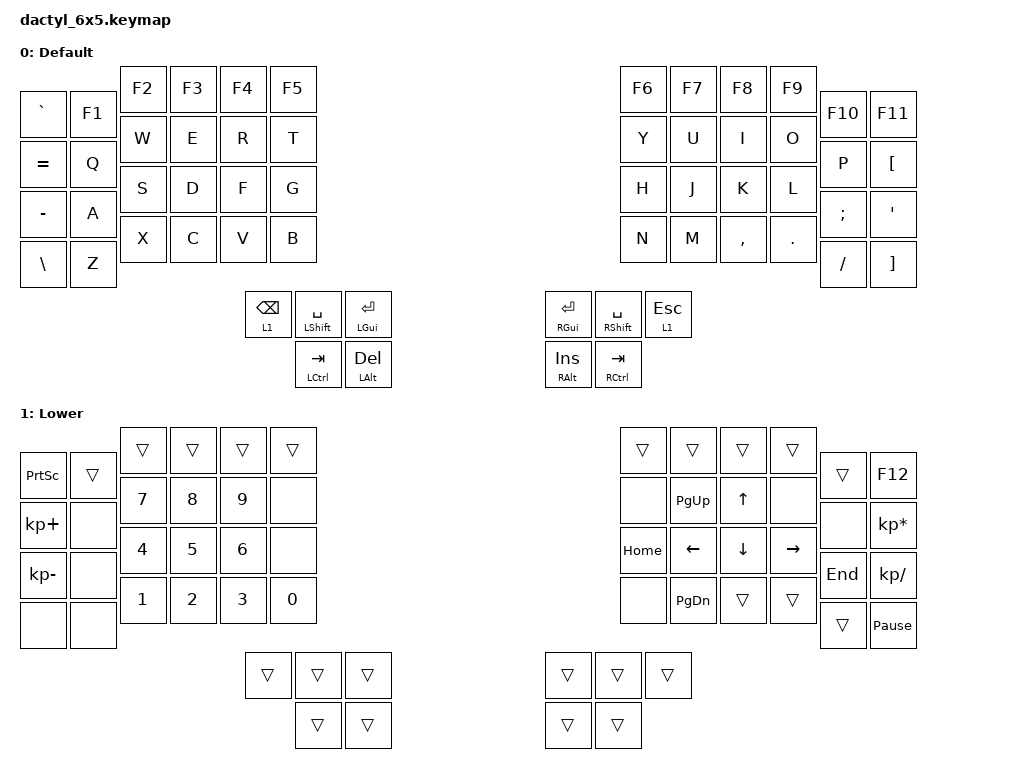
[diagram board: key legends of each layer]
#include <behaviors.dtsi>
#include <dt-bindings/zmk/bt.h>
#include <dt-bindings/zmk/keys.h>
#include <dt-bindings/zmk/outputs.h>

&soft_off {
    hold-time-ms = <2000>;
};

/ {
    behaviors {
        ltc: layer_tap_custom {
            compatible = "zmk,behavior-hold-tap";
            #binding-cells = <2>;
            flavor = "hold-preferred";
            tapping-term-ms = <200>;  // layer activation
            quick-tap-ms = <200>;     // multi-tap
            bindings = <&mo>, <&kp>;
        };
        mtc: mod_tap_custom {
            compatible = "zmk,behavior-hold-tap";
            #binding-cells = <2>;
            flavor = "hold-preferred";
            tapping-term-ms = <200>;
            quick-tap-ms = <200>;
            bindings = <&kp>, <&kp>;
        };
    };

    combos {
        compatible = "zmk,combos";
        
        combo_ble_clear {
            timeout-ms = <50>;
            bindings = <&bt BT_CLR_ALL>;
            key-positions = <0 18>;            
        };
    };

    keymap {
        compatible = "zmk,keymap";

        default_layer {
            display-name = "Default";
            //quick-tap-ms = <200>;
            bindings = <
                &kp GRAVE         &kp F1         &kp F2            &kp F3            &kp F4             &kp F5
                &kp EQUAL         &kp Q          &kp W             &kp E             &kp R              &kp T
                &kp MINUS         &kp A          &kp S             &kp D             &kp F              &kp G
                &kp BACKSLASH     &kp Z          &kp X             &kp C             &kp V              &kp B
                &mtc LCTRL TAB    &ltc 1 BSPC    &mtc LSHFT SPACE  &mtc LGUI ENTER   &mtc LALT DEL       
                    
                &kp F6            &kp F7         &kp F8            &kp F9            &kp F10            &kp F11
                &kp Y             &kp U          &kp I             &kp O             &kp P              &kp LEFT_BRACKET
                &kp H             &kp J          &kp K             &kp L             &kp SEMI           &kp APOS
                &kp N             &kp M          &kp COMMA         &kp DOT           &kp FSLH           &kp RIGHT_BRACKET
                                  &mtc RALT INS  &mtc RGUI ENTER   &mtc RSHFT SPACE  &ltc 1 ESC         &mtc RCTRL TAB
            >;
        };

        lower_layer {
            display-name = "Lower";
            bindings = <
                &kp PSCRN       &trans          &trans          &trans             &trans            &trans
                &kp KP_PLUS     &none           &kp N7          &kp N8             &kp N9            &none
                &kp KP_MINUS    &none           &kp N4          &kp N5             &kp N6            &none
                &none           &none           &kp N1          &kp N2             &kp N3            &kp N0
                                &trans          &trans          &trans             &trans            &trans
            
                &trans          &trans          &trans          &trans             &trans            &kp F12
                &none           &kp PG_UP       &kp UP          &none              &none             &kp KP_MULTIPLY
                &kp HOME        &kp LEFT        &kp DOWN        &kp RIGHT          &kp END           &kp KP_DIVIDE
                &none           &kp PG_DN       &trans          &trans             &trans            &kp PAUSE_BREAK 
                                &trans          &trans          &trans             &trans            &trans
            >;
        };
    };
};
